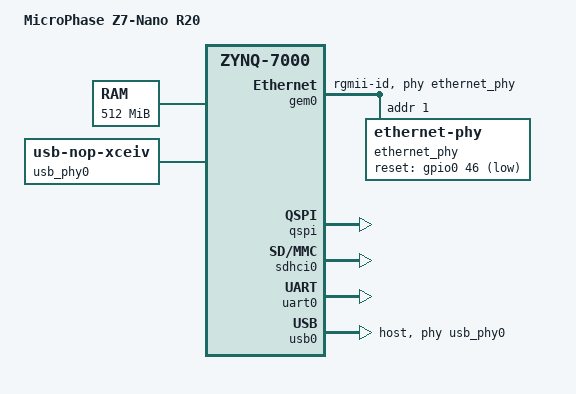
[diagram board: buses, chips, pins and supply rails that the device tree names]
// SPDX-License-Identifier: GPL-2.0+
/*
 * Device Tree for MicroPhase Z7-Nano R20 board (XC7Z020)
 * Ported from zynq-zybo-z7.dts, differences:
 *   - console on uart0 (e0000000) instead of uart1
 *   - 512MB DDR (0x20000000)
 *   - ETH PHY: Realtek RTL8211F, phy reset on MIO46 (from vendor live DT)
 *   - no MIO gpio LED (SD activity LED comes from mmc driver)
 */
/dts-v1/;
#include "zynq-7000.dtsi"
#include <dt-bindings/gpio/gpio.h>

/ {
	model = "MicroPhase Z7-Nano R20";
	compatible = "microphase,zynq-z7-nano", "xlnx,zynq-7000";

	aliases {
		ethernet0 = &gem0;
		serial0 = &uart0;
		spi0 = &qspi;
		mmc0 = &sdhci0;
	};

	memory@0 {
		device_type = "memory";
		reg = <0x0 0x20000000>;
	};

	chosen {
		bootargs = "";
		stdout-path = "serial0:115200n8";
	};

	usb_phy0: phy0 {
		#phy-cells = <0>;
		compatible = "usb-nop-xceiv";
	};
};

&clkc {
	ps-clk-frequency = <33333333>;
};

&gem0 {
	status = "okay";
	phy-mode = "rgmii-id";
	phy-handle = <&ethernet_phy>;

	ethernet_phy: ethernet-phy@1 {
		reg = <1>;
		reset-gpios = <&gpio0 46 GPIO_ACTIVE_LOW>;
	};
};

&qspi {
	bootph-all;
	status = "okay";
};

&sdhci0 {
	bootph-all;
	status = "okay";
};

&uart0 {
	bootph-all;
	status = "okay";
};

&usb0 {
	status = "okay";
	dr_mode = "host";
	usb-phy = <&usb_phy0>;
};
